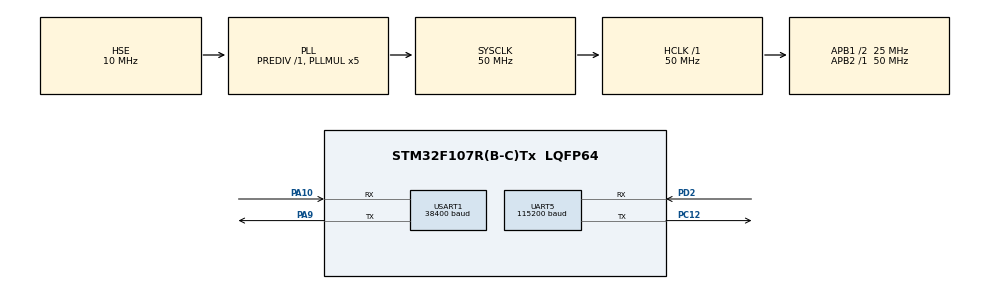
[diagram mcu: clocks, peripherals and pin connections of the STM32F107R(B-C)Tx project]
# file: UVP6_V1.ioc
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FREERTOS.Tasks01=defaultTask,0,128,StartDefaultTask,Default,NULL,Dynamic,NULL,NULL;uart_tx_t,0,128,uart_tx_f,Default,NULL,Dynamic,NULL,NULL
FREERTOS.configTOTAL_HEAP_SIZE=35000
FREERTOS.configUSE_NEWLIB_REENTRANT=0
Mcu.Family=STM32F1
Mcu.Name=STM32F107R(B-C)Tx
Mcu.Package=LQFP64
NVIC.PriorityGroup=NVIC_PRIORITYGROUP_4
NVIC.TIM1_UP_IRQn=true\:0\:0\:false\:false\:true\:false\:false\:true\:true
NVIC.TimeBase=TIM1_UP_IRQn
NVIC.TimeBaseIP=TIM1
NVIC.UART5_IRQn=true\:5\:0\:false\:false\:true\:true\:true\:true\:true
NVIC.USART1_IRQn=true\:5\:0\:false\:false\:true\:true\:true\:true\:true
PA10.Mode=Asynchronous
PA10.Signal=USART1_RX
PA9.Mode=Asynchronous
PA9.Signal=USART1_TX
PC12.Mode=Asynchronous
PC12.Signal=UART5_TX
PD0-OSC_IN.Mode=HSE-External-Oscillator
PD0-OSC_IN.Signal=RCC_OSC_IN
PD1-OSC_OUT.Mode=HSE-External-Oscillator
PD1-OSC_OUT.Signal=RCC_OSC_OUT
PD2.Mode=Asynchronous
PD2.Signal=UART5_RX
ProjectManager.HeapSize=0x200
ProjectManager.StackSize=0x400
ProjectManager.TargetToolchain=STM32CubeIDE
RCC.AHBFreq_Value=50000000
RCC.APB1CLKDivider=RCC_HCLK_DIV2
RCC.APB1Freq_Value=25000000
RCC.APB1TimFreq_Value=50000000
RCC.APB2Freq_Value=50000000
RCC.APB2TimFreq_Value=50000000
RCC.HCLKFreq_Value=50000000
RCC.HSE_VALUE=10000000
RCC.PLLMUL=RCC_PLL_MUL5
RCC.PLLSourceVirtual=RCC_PLLSOURCE_HSE
RCC.SYSCLKFreq_VALUE=50000000
RCC.SYSCLKSource=RCC_SYSCLKSOURCE_PLLCLK
RCC.USBFreq_Value=33333333.333333332
UART5.BaudRate=115200
UART5.VirtualMode=Asynchronous
USART1.BaudRate=38400
USART1.VirtualMode=VM_ASYNC
VP_FREERTOS_VS_CMSIS_V1.Mode=CMSIS_V1
VP_SYS_VS_ND.Mode=No_Debug
VP_SYS_VS_tim1.Mode=TIM1
board=custom

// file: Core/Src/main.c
/* USER CODE BEGIN Header */
/**
  ******************************************************************************
  * @file           : main.c
  * @brief          : Main program body
  ******************************************************************************
  * @attention
  *
  * <h2><center>&copy; Copyright (c) 2021 STMicroelectronics.
  * All rights reserved.</center></h2>
  *
  * This software component is licensed by ST under Ultimate Liberty license
  * SLA0044, the "License"; You may not use this file except in compliance with
  * the License. You may obtain a copy of the License at:
  *                             www.st.com/SLA0044
  *
  ******************************************************************************
  */
/* USER CODE END Header */
#include "main.h"
#include "cmsis_os.h"

/* USER CODE BEGIN Includes */
#include "seaglider.h"
#include "UVP6.h"
#include "mcu_flash.h"
#include "string.h"
/* USER CODE END Includes */

/* USER CODE BEGIN PD */
#define  UVP6_UART               huart1
#define  GLIDER_UART             huart5

#define  UVP_DEPTH_HL_LEVEL      100.0
/* USER CODE END PD */

UART_HandleTypeDef huart5;
UART_HandleTypeDef huart1;

osThreadId defaultTaskHandle;
osThreadId uart_tx_tHandle;
/* USER CODE BEGIN PV */

uvp6 uvp6_sensor1;
seaglider glider1;
mcu_flash data_flash;

/* USER CODE END PV */

void SystemClock_Config(void);
static void MX_GPIO_Init(void);
static void MX_UART5_Init(void);
static void MX_USART1_UART_Init(void);
void StartDefaultTask(void const * argument);
void uart_tx_f(void const * argument);

int main(void)
{

  /* MCU Configuration--------------------------------------------------------*/

  /* Reset of all peripherals, Initializes the Flash interface and the Systick. */
  HAL_Init();

  /* Configure the system clock */
  SystemClock_Config();

  /* Initialize all configured peripherals */
  MX_GPIO_Init();
  MX_UART5_Init();
  MX_USART1_UART_Init();
  /* USER CODE BEGIN 2 */
  uvp6_init(&uvp6_sensor1);
  HAL_UART_Receive_IT(&UVP6_UART,&(uvp6_sensor1.media_rx_byte),1);

  seaglider_init(&glider1);
  HAL_UART_Receive_IT(&GLIDER_UART,&(glider1.media_rx_byte),1);

  mcu_flash_init(&data_flash,82);

  /* USER CODE END 2 */

  /* Create the thread(s) */
  /* definition and creation of defaultTask */
  osThreadDef(defaultTask, StartDefaultTask, osPriorityNormal, 0, 128);
  defaultTaskHandle = osThreadCreate(osThread(defaultTask), NULL);

  /* definition and creation of uart_tx_t */
  osThreadDef(uart_tx_t, uart_tx_f, osPriorityNormal, 0, 128);
  uart_tx_tHandle = osThreadCreate(osThread(uart_tx_t), NULL);

  /* Start scheduler */
  osKernelStart();

  /* We should never get here as control is now taken by the scheduler */
  /* Infinite loop */
  while (1)
  {

  }
}

void SystemClock_Config(void)
{
  RCC_OscInitTypeDef RCC_OscInitStruct = {0};
  RCC_ClkInitTypeDef RCC_ClkInitStruct = {0};

  /** Initializes the RCC Oscillators according to the specified parameters
  * in the RCC_OscInitTypeDef structure.
  */
  RCC_OscInitStruct.OscillatorType = RCC_OSCILLATORTYPE_HSE;
  RCC_OscInitStruct.HSEState = RCC_HSE_ON;
  RCC_OscInitStruct.HSEPredivValue = RCC_HSE_PREDIV_DIV1;
  RCC_OscInitStruct.HSIState = RCC_HSI_ON;
  RCC_OscInitStruct.Prediv1Source = RCC_PREDIV1_SOURCE_HSE;
  RCC_OscInitStruct.PLL.PLLState = RCC_PLL_ON;
  RCC_OscInitStruct.PLL.PLLSource = RCC_PLLSOURCE_HSE;
  RCC_OscInitStruct.PLL.PLLMUL = RCC_PLL_MUL5;
  RCC_OscInitStruct.PLL2.PLL2State = RCC_PLL_NONE;
  if (HAL_RCC_OscConfig(&RCC_OscInitStruct) != HAL_OK)
  {
    Error_Handler();
  }

  /** Initializes the CPU, AHB and APB buses clocks
  */
  RCC_ClkInitStruct.ClockType = RCC_CLOCKTYPE_HCLK|RCC_CLOCKTYPE_SYSCLK
                              |RCC_CLOCKTYPE_PCLK1|RCC_CLOCKTYPE_PCLK2;
  RCC_ClkInitStruct.SYSCLKSource = RCC_SYSCLKSOURCE_PLLCLK;
  RCC_ClkInitStruct.AHBCLKDivider = RCC_SYSCLK_DIV1;
  RCC_ClkInitStruct.APB1CLKDivider = RCC_HCLK_DIV2;
  RCC_ClkInitStruct.APB2CLKDivider = RCC_HCLK_DIV1;

  if (HAL_RCC_ClockConfig(&RCC_ClkInitStruct, FLASH_LATENCY_2) != HAL_OK)
  {
    Error_Handler();
  }

  /** Configure the Systick interrupt time
  */
  __HAL_RCC_PLLI2S_ENABLE();
}

static void MX_UART5_Init(void)
{

  huart5.Instance = UART5;
  huart5.Init.BaudRate = 115200;
  huart5.Init.WordLength = UART_WORDLENGTH_8B;
  huart5.Init.StopBits = UART_STOPBITS_1;
  huart5.Init.Parity = UART_PARITY_NONE;
  huart5.Init.Mode = UART_MODE_TX_RX;
  huart5.Init.HwFlowCtl = UART_HWCONTROL_NONE;
  huart5.Init.OverSampling = UART_OVERSAMPLING_16;
  if (HAL_UART_Init(&huart5) != HAL_OK)
  {
    Error_Handler();
  }

}

static void MX_USART1_UART_Init(void)
{

  huart1.Instance = USART1;
  huart1.Init.BaudRate = 38400;
  huart1.Init.WordLength = UART_WORDLENGTH_8B;
  huart1.Init.StopBits = UART_STOPBITS_1;
  huart1.Init.Parity = UART_PARITY_NONE;
  huart1.Init.Mode = UART_MODE_TX_RX;
  huart1.Init.HwFlowCtl = UART_HWCONTROL_NONE;
  huart1.Init.OverSampling = UART_OVERSAMPLING_16;
  if (HAL_UART_Init(&huart1) != HAL_OK)
  {
    Error_Handler();
  }

}

static void MX_GPIO_Init(void)
{

  /* GPIO Ports Clock Enable */
  __HAL_RCC_GPIOD_CLK_ENABLE();
  __HAL_RCC_GPIOA_CLK_ENABLE();
  __HAL_RCC_GPIOC_CLK_ENABLE();

}

/* USER CODE BEGIN 4 */
uint8_t tmp1;
uint8_t tmp2;

void HAL_UART_RxCpltCallback(UART_HandleTypeDef *huart)
{
 if(huart==&UVP6_UART)
 {   //send new received byte to uvp6 object
	 uvp6_media_process_byte(&uvp6_sensor1,uvp6_sensor1.media_rx_byte);
	 HAL_UART_Receive_IT(&UVP6_UART,&(uvp6_sensor1.media_rx_byte),1);
 }
 else if(huart==&GLIDER_UART)
 {
	 seaglider_media_process_byte(&glider1,glider1.media_rx_byte);
	 HAL_UART_Receive_IT(&GLIDER_UART,&(glider1.media_rx_byte),1);
 }
}

void HAL_UART_TxCpltCallback(UART_HandleTypeDef *huart)
{

 if(huart==&UVP6_UART)
 {
	 if(uvp6_media_get_byte(&uvp6_sensor1,&tmp2)==UVP6_F_OK)
	 {
	    HAL_UART_Transmit_IT(&UVP6_UART,&tmp2,1);
	 }
 }
 else if(huart==&GLIDER_UART)
 {
	 if(seaglider_media_get_byte(&glider1,&tmp1)==SEAGLIDER_F_OK)
	 {
	    HAL_UART_Transmit_IT(&GLIDER_UART,&tmp1,1);
	 }
 }
}

/* USER CODE END 4 */

void StartDefaultTask(void const * argument)
{
  /* USER CODE BEGIN 5 */
  /* Infinite loop */
  mcu_flash_open(&data_flash);
  char tmp_str[20];
  uint8_t event_id;
  char avg_str[40];
  uint16_t avg_data[5];
  uint8_t y=0;
  memory_region_pointer ptr1;

  uint8_t lpm_messages_couter=0;

  for(;;)
  {
	 //glider task
	 if(seaglider_get_event(&glider1,&event_id)==SEAGLIDER_F_OK)
	 {
		switch(event_id)
		{
		 case SEAGLIDER_EVNT_DEPTH_RCVD:

			 memcpy(tmp_str,glider1.date,8);
			 memcpy(tmp_str+8,",",1);
			 memcpy(tmp_str+9,glider1.time,6);
			 tmp_str[15]=0x00;

			 if(glider1.last_depth>UVP_DEPTH_HL_LEVEL&&glider1.prev_depth<=UVP_DEPTH_HL_LEVEL)
		     {
				uvp6_send_cmd(&uvp6_sensor1,UVP6_CMD_STOP_ACQ,NULL);
				osDelay(1000);
				uvp6_send_cmd(&uvp6_sensor1,UVP6_CMD_START_L_ACQ,tmp_str);
			 }
			 else if(glider1.last_depth<=UVP_DEPTH_HL_LEVEL&&glider1.prev_depth>UVP_DEPTH_HL_LEVEL)
			 {
				uvp6_send_cmd(&uvp6_sensor1,UVP6_CMD_STOP_ACQ,NULL);
			    osDelay(1000);
				uvp6_send_cmd(&uvp6_sensor1,UVP6_CMD_START_H_ACQ,tmp_str);
			 }
			 seaglider_send_cmd(&glider1,SEAGLIDER_CMD_PROMPT,NULL);
         break;
		 case SEAGLIDER_EVNT_START_RCVD:
		   if(uvp6_sensor1.status!=UVP6_READY) osDelay(2000);
		   if(uvp6_sensor1.status!=UVP6_READY) break;
			 memcpy(tmp_str,glider1.date,8);
			 memcpy(tmp_str+8,",",1);
			 memcpy(tmp_str+9,glider1.time,6);
			 tmp_str[15]=0x00;
			 mcu_flash_flush(&data_flash);
			 if(glider1.last_depth<=UVP_DEPTH_HL_LEVEL)
			  {
  		        uvp6_send_cmd(&uvp6_sensor1,UVP6_CMD_START_H_ACQ,tmp_str);
			  }
			 else if(glider1.last_depth>UVP_DEPTH_HL_LEVEL)
  			  {
  		    	uvp6_send_cmd(&uvp6_sensor1,UVP6_CMD_START_L_ACQ,tmp_str);
  			  }
			 seaglider_send_cmd(&glider1,SEAGLIDER_CMD_PROMPT,NULL);
		 break;
		 case SEAGLIDER_EVNT_CLOCK_RCVD:
			 seaglider_send_cmd(&glider1,SEAGLIDER_CMD_PROMPT,NULL);
		 break;
		 case SEAGLIDER_EVNT_WAKEUP_RCVD:
			 seaglider_send_cmd(&glider1,SEAGLIDER_CMD_PROMPT,NULL);
		 break;
		 case SEAGLIDER_EVNT_STOP_RCVD:
			  uvp6_send_cmd(&uvp6_sensor1,UVP6_CMD_STOP_ACQ,NULL);
			  osDelay(1000);
			  mcu_flash_close(&data_flash,MCU_FLASH_CLEAN_FLAG);
			  seaglider_send_cmd(&glider1,SEAGLIDER_CMD_PROMPT,NULL);
		 break;
		 case SEAGLIDER_EVNT_TEST_RCVD:
			  ptr1.start_addr=data_flash.data_pages_addr;
			  ptr1.size=data_flash.flash_state.write_indx;
			  seaglider_send_cmd(&glider1,SEAGLIDER_CMD_SEND_DATA,&ptr1);
			  seaglider_send_cmd(&glider1,SEAGLIDER_CMD_PROMPT,NULL);
		 break;
		 case SEAGLIDER_EVNT_SEND_TXT_FILE_RCVD:
			  mcu_flash_close(&data_flash,MCU_FLASH_DIRTY_FLAG);
			  ptr1.start_addr=data_flash.data_pages_addr;
			  ptr1.size=data_flash.flash_state.write_indx;
			  seaglider_send_cmd(&glider1,SEAGLIDER_CMD_SEND_DATA,&ptr1);
			  seaglider_send_cmd(&glider1,SEAGLIDER_CMD_PROMPT,NULL);
		 break;

		}
	 }

	 //UVP6 tasks

	 if(uvp6_get_event(&uvp6_sensor1,&event_id)==UVP6_F_OK)
	 {
        switch(event_id)
        {
         case UVP6_EVNT_BOOTED:
        	 //osDelay(1000);
        	 seaglider_send_cmd(&glider1,SEAGLIDER_CMD_PROMPT,NULL);
         break;
         case UVP6_EVNT_LPM_DATA_RCVD:
			//save only every 10 message
			lpm_messages_couter++;
			lpm_messages_couter=lpm_messages_couter%10;
        	//read LPM values
          if(uvp6_sensor1.status==UVP6_ACQ_STARTED && lpm_messages_couter==1)
        	{

        	  y=0;
			  for(int i=0;i<13;i+=4)
			  {
				avg_data[y]=uvp6_sensor1.lpm_data.data[i]+uvp6_sensor1.lpm_data.data[i+1]+uvp6_sensor1.lpm_data.data[i+2]+uvp6_sensor1.lpm_data.data[i+3];
				y++;
			  }
			avg_data[4]=uvp6_sensor1.lpm_data.data[16]+uvp6_sensor1.lpm_data.data[17];
			sprintf(avg_str,"%d,%d,%d,%d,%d\n",avg_data[0],avg_data[1],avg_data[2],avg_data[3],avg_data[4]);
			mcu_flash_write(&data_flash,avg_str,strlen(avg_str));
			//seaglider_send_cmd(&glider1,SEAGLIDER_CMD_PROMPT,NULL);
          }
		 break;
        }
	 }
	 osDelay(1);
  }
  /* USER CODE END 5 */
}

void uart_tx_f(void const * argument)
{
  /* USER CODE BEGIN uart_tx_f */
  /* Infinite loop */
  uint8_t tmp1;
  uint8_t tmp2;
  uvp6_sensor1.media_status=UVP6_MEDIA_READY;
  glider1.media_status=SEAGLIDER_MEDIA_READY;

  for(;;)
  {
       if(GLIDER_UART.gState!=HAL_UART_STATE_BUSY_TX)
       {
		if(seaglider_media_get_byte(&glider1,&tmp1)==SEAGLIDER_F_OK)
		{
		   HAL_UART_Transmit_IT(&GLIDER_UART,&tmp1,1);
		}
       }
       if(UVP6_UART.gState!=HAL_UART_STATE_BUSY_TX)
       {
		if(uvp6_media_get_byte(&uvp6_sensor1,&tmp2)==UVP6_F_OK)
		{
		   HAL_UART_Transmit_IT(&UVP6_UART,&tmp2,1);
		}
       }
    osDelay(1);
  }
  /* USER CODE END uart_tx_f */
}

void HAL_TIM_PeriodElapsedCallback(TIM_HandleTypeDef *htim)
{
  if (htim->Instance == TIM1) {
    HAL_IncTick();
  }
}

void Error_Handler(void)
{
  __disable_irq();
  while (1)
  {
  }
}
